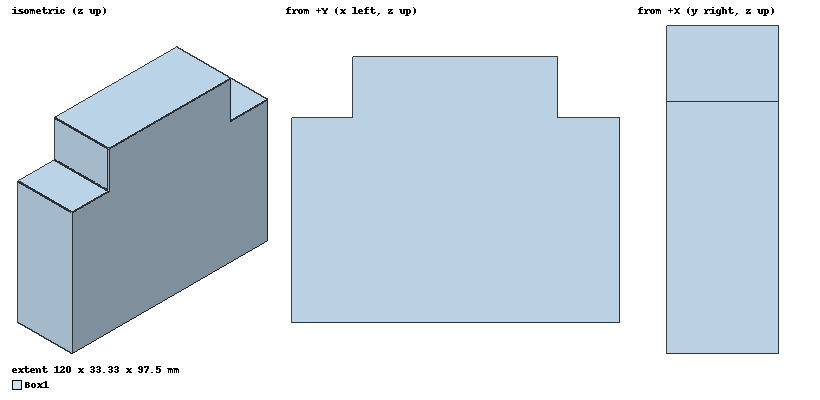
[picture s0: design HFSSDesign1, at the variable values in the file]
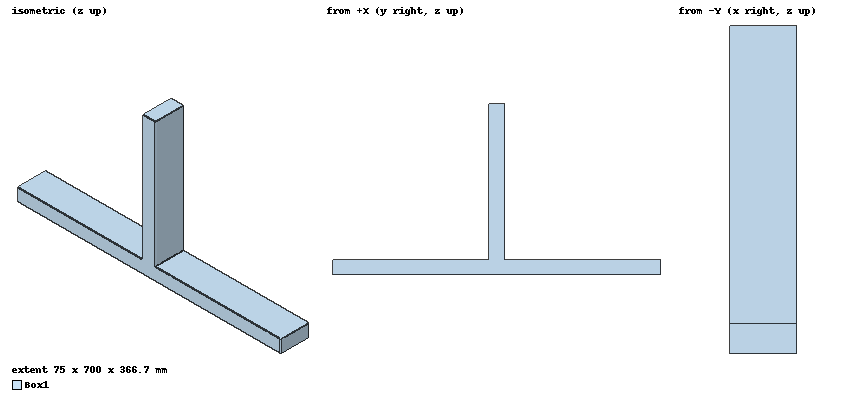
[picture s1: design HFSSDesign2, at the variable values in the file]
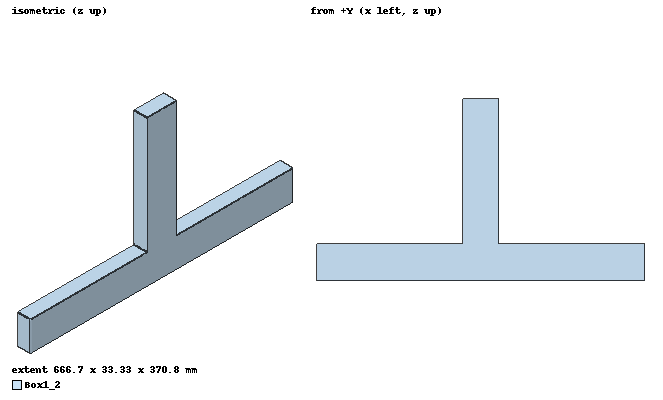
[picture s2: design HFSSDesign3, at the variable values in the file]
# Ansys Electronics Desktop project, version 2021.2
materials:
  vacuum: permittivity=1

design HFSSDesign1 (HFSS, DrivenModal, model units mm)
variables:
  a = 75mm
  b = 33.333mm
  l = 300mm
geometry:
  Box1 [vacuum] = box(corner=(-a/2, -b/2mm, 0mm), size=(a, b, 60mm))
  Box1_1 = Box1.duplicate_around_axis(axis=Y, angle=90deg, total=2)
  Box1_2 = Box1.duplicate_around_axis(axis=Y, angle=-90deg, total=2)
  Box1.unite(Box1_1, Box1_2)
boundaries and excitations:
  PerfE1: Perfect E Objects=Box1
  1: Wave Port Faces=Box1.face(1 of 6) NumModes=1 Modes{Mode1{IntLine{middle of Box1.edge(2 of 12) -> middle of Box1.edge(4 of 12)} CharImp=Zpi}}
  2: Wave Port Faces=Box1.face(+z) NumModes=1 Modes{Mode1{IntLine{middle of Box1.edge(2 of 12) -> middle of Box1.edge(4 of 12)} CharImp=Zpi}}
  3: Wave Port Faces=Box1.face(1 of 6) NumModes=1 Modes{Mode1{IntLine{middle of Box1.edge(2 of 12) -> middle of Box1.edge(4 of 12)} CharImp=Zpi}}
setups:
  Setup1: HfssDriven Frequency=10GHz MaxDeltaS=0.02 MaximumPasses=20 MinimumPasses=1 MinimumConvergedPasses=1 PercentRefinement=30 BasisOrder=1 PortAccuracy=2
    sweep Sweep: 5GHz to 15GHz step 0.025GHz; Type=Fast SaveFields
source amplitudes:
  1:1, 3:1: 0W 0deg
  2:1: 1W 0deg
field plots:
  Mag_E1: E Field in Box1 on Setup1 : Sweep at Freq=9.2GHz Phase=0deg
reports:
  Gamma Plot 1: im(Gamma(1)) vs Freq on Setup1 : Sweep

design HFSSDesign2 (HFSS, DrivenModal, model units mm)
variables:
  a = 75mm
  b = 33.33mm
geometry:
  Box1 [vacuum] = box(corner=(-a/2, -b/2, 0mm), size=(a, b, 350mm))
  Box1_1 = Box1.duplicate_around_axis(axis=X, angle=90deg, total=2)
  Box1_2 = Box1.duplicate_around_axis(axis=X, angle=-90deg, total=2)
  Box1.unite(Box1_1, Box1_2)
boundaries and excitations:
  PerfE1: Perfect E Objects=Box1
  1: Wave Port Faces=Box1.face(1 of 6) NumModes=1 Modes{Mode1{IntLine{middle of Box1.edge(4 of 12) -> middle of Box1.edge(2 of 12)} CharImp=Zpi}}
  2: Wave Port Faces=Box1.face(1 of 6) NumModes=1 Modes{Mode1{IntLine{middle of Box1.edge(2 of 12) -> middle of Box1.edge(4 of 12)} CharImp=Zpi}}
  3: Wave Port Faces=Box1.face(+z) NumModes=1 Modes{Mode1{IntLine{middle of Box1.edge(2 of 12) -> middle of Box1.edge(4 of 12)} CharImp=Zpi}}
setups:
  Setup1: HfssDriven Frequency=2GHz MaxDeltaS=0.02 MaximumPasses=12 MinimumPasses=1 MinimumConvergedPasses=1 PercentRefinement=30 BasisOrder=1 PortAccuracy=2
    sweep Sweep: 1GHz to 3GHz step 0.005GHz; Type=Fast SaveFields
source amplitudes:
  1:1, 2:1: 0W 0deg
  3:1: 1W 0deg
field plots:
  Mag_E1, Vector_E1: E Field in Box1 on Setup1 : Sweep at Freq=2GHz Phase=0deg
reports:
  Gamma Plot 1: im(Gamma(1)) vs Freq on Setup1 : Sweep; markers m1 at 1.995GHz, m2 at 2.005GHz, m3 at 2.04GHz

design HFSSDesign3 (HFSS, DrivenModal, model units mm)
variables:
  a = 75mm
  b = 33.33mm
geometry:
  Box1 = box(corner=(-a/2, 0mm, -b/2), size=(a, b, 350mm))
  Box1_1 = Box1.duplicate_around_axis(axis=Y, angle=90deg, total=2)
  Box1_2 [vacuum] = Box1.duplicate_around_axis(axis=Y, angle=-90deg, total=2)
  Box1_2.unite(Box1_1, Box1)
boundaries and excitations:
  PerfE1: Perfect E Objects=Box1_2
  1: Wave Port Faces=Box1_2.face(1 of 6) NumModes=1 Modes{Mode1{IntLine{middle of Box1_2.edge(2 of 12) -> middle of Box1_2.edge(4 of 12)} CharImp=Zpi}}
  2: Wave Port Faces=Box1_2.face(1 of 6) NumModes=1 Modes{Mode1{IntLine{middle of Box1_2.edge(2 of 12) -> middle of Box1_2.edge(4 of 12)} CharImp=Zpi}}
  3: Wave Port Faces=Box1_2.face(1 of 6) NumModes=1 Modes{Mode1{IntLine{middle of Box1_2.edge(2 of 12) -> middle of Box1_2.edge(4 of 12)} CharImp=Zpi}}
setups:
  Setup1: HfssDriven Frequency=2GHz MaxDeltaS=0.02 MaximumPasses=12 MinimumPasses=1 MinimumConvergedPasses=1 PercentRefinement=30 BasisOrder=1 PortAccuracy=2
    sweep Sweep: 1GHz to 3GHz step 0.005GHz; Type=Fast SaveFields
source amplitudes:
  1:1, 2:1: 0W 0deg
  3:1: 1W 0deg
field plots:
  Mag_E1: E Field over Box1_2.face(5 of 6) on Setup1 : Sweep at Freq=2.075GHz Phase=0deg
  Vector_E1: E Field in Box1_2 on Setup1 : Sweep at Freq=2.7GHz Phase=0deg
  Mag_E2: E Field in Box1_2 on Setup1 : Sweep at Freq=2.4GHz Phase=0deg
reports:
  Gamma Plot 1: im(Gamma(1)) vs Freq on Setup1 : Sweep; markers m1 at 1.995GHz, m2 at 2.01GHz, m3 at 2.035GHz
